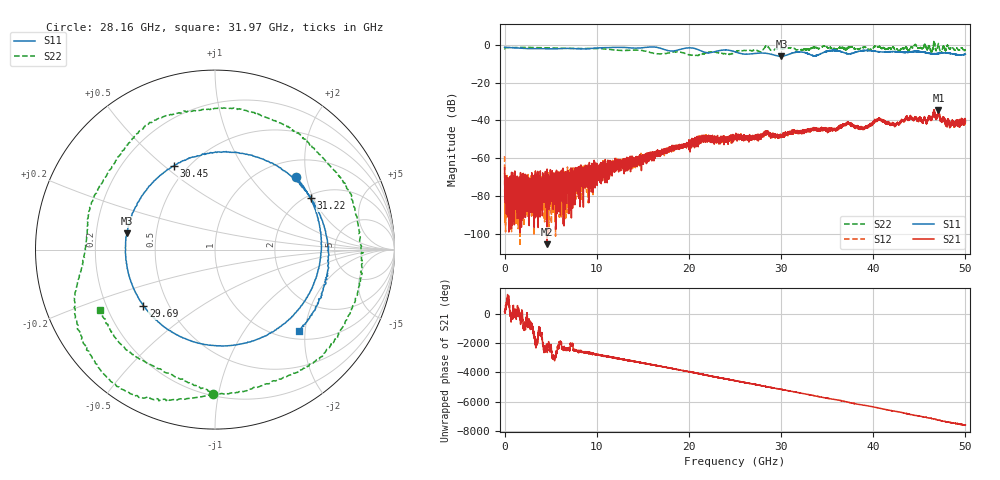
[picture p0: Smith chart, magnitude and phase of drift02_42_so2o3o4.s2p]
!Created with skrf (http://scikit-rf.org).
# Hz S RI R 50.0
!freq ReS11 ImS11 ReS21 ImS21 ReS12 ImS12 ReS22 ImS22
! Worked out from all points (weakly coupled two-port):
!   10001 points, 300 kHz to 50 GHz, reference 50 ohm
!   highest |S21| = -34.40 dB at 47.08 GHz (marker M1); lowest = -105.5 dB at 4.58 GHz (marker M2)
!   lowest |S11| = -6.1 dB at 30.05 GHz (marker M3), VSWR 2.98, Z = 16.9 + j4.06 ohm
!   |S11| at or under -10 dB: nowhere
!   |S22| runs from -5.7 to 2.3 dB; largest |S21 - S12| = 0.0032
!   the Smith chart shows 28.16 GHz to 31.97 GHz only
!   S11 on the Smith chart (normalised r, x): 28.16 GHz: 1.35, +1.74; 29.69 GHz: 0.36, -0.31; 30.45 GHz: 0.42, +0.54; 31.22 GHz: 2.11, +1.92; 31.97 GHz: 1.17, -1.85
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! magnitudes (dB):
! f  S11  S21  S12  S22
! 300 kHz  -1.3  -64.9  -58.9  -2.0
! 255.3 MHz  -1.4  -84.4  -80.4  -1.4
! 650.3 MHz  -1.4  -73.8  -77.6  -1.5
! 4.58 GHz  -2.1  -105.5  -71.7  -1.5
! 8.335 GHz  -2.2  -66.0  -71.3  -1.9
! 16.67 GHz  -1.5  -58.1  -57.8  -4.7
! 21.29 GHz  -3.1  -50.3  -50.0  -5.2
! 25 GHz  -3.7  -48.9  -49.7  -3.9
! 28.16 GHz  -4.3  -46.7  -47.5  -1.9
! 29.69 GHz  -5.9  -48.5  -48.3  -2.1
! 30.05 GHz  -6.1  -48.0  -48.0  -2.0
! 30.45 GHz  -5.7  -47.0  -46.8  -1.8
! 31.22 GHz  -4.3  -46.1  -45.8  -1.8
! 31.97 GHz  -3.7  -46.5  -45.7  -2.8
! 33.34 GHz  -5.5  -44.6  -44.8  -1.5
! 37.3 GHz  -4.7  -41.2  -41.3  -1.4
! 38.88 GHz  -3.0  -43.8  -43.9  -1.3
! 40.58 GHz  -3.6  -39.4  -39.6  -1.0
! 41.67 GHz  -3.6  -41.2  -41.3  -2.0
! 47.08 GHz  -4.5  -34.4  -34.9  0.8
! 48.52 GHz  -4.6  -41.0  -40.7  -1.5
! 50 GHz  -4.9  -39.9  -40.4  -2.8
